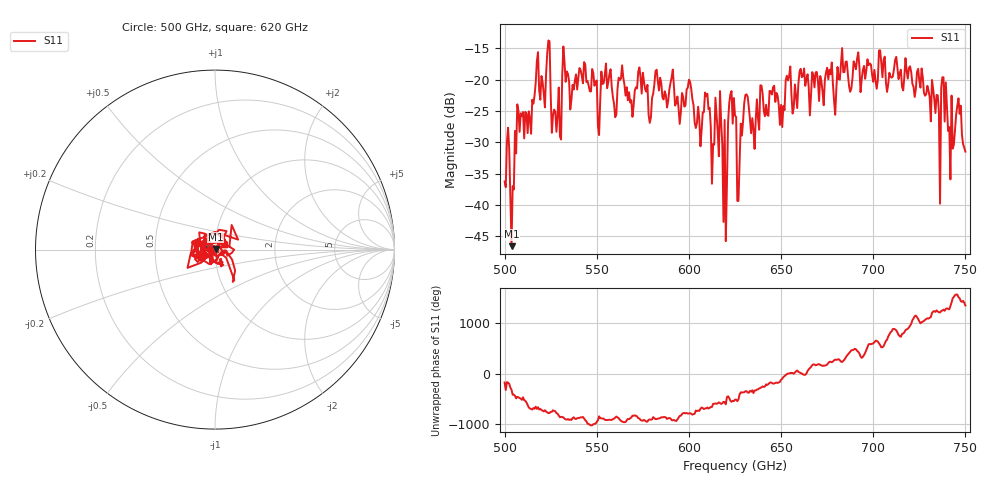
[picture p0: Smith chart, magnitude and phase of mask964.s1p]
!Created with skrf (http://scikit-rf.org).
# GHz S MA R 50.0
!freq magS11 angS11
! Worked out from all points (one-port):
!   401 points, 500 GHz to 750 GHz, reference 50 ohm
!   lowest |S11| = -46.6 dB at 503.8 GHz (marker M1), VSWR 1.01, Z = 50.3 + j0.323 ohm
!   |S11| at or under -10 dB: start of sweep to end of sweep
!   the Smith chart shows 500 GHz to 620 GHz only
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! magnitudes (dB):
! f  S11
! 500 GHz  -36.3
! 503.8 GHz  -46.6
! 508.1 GHz  -28.3
! 513.1 GHz  -25.1
! 517.5 GHz  -17.1
! 523.8 GHz  -13.8
! 526.9 GHz  -24.8
! 531.2 GHz  -19.4
! 560 GHz  -26.0
! 562.5 GHz  -20.1
! 593.8 GHz  -22.7
! 610 GHz  -22.3
! 612.5 GHz  -36.6
! 616.2 GHz  -32.2
! 619.4 GHz  -26.4
! 622.5 GHz  -22.3
! 625 GHz  -25.8
! 627.5 GHz  -33.5
! 631.2 GHz  -22.4
! 635 GHz  -27.9
! 656.2 GHz  -25.4
! 687.5 GHz  -21.9
! 718.8 GHz  -19.9
! 735 GHz  -22.5
! 738.1 GHz  -19.7
! 742.5 GHz  -22.6
! 746.2 GHz  -23.0
! 750 GHz  -31.5
